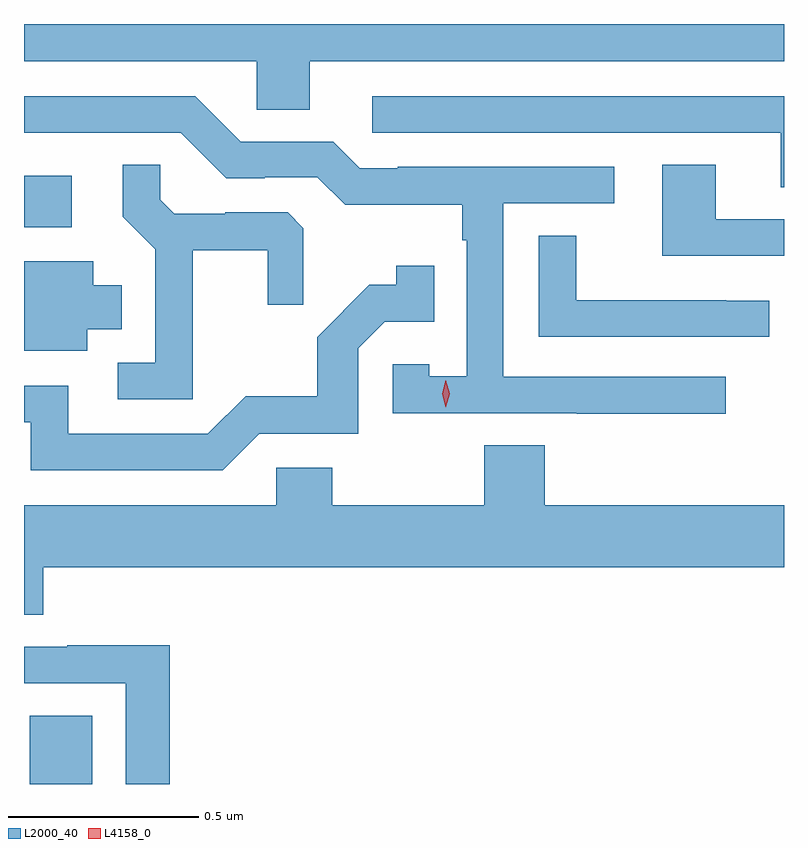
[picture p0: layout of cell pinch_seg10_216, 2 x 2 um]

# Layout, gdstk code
import gdstk
lib = gdstk.Library(unit=1e-6, precision=1e-09)
def R(c, l, rs):  # rectangles x0, y0, x1, y1
    for r in rs: c.add(gdstk.rectangle(r[:2], r[2:], *l))
def P(c, l, *ps):  # polygons
    for p in ps: c.add(gdstk.Polygon(p, *l))
L2000_40 = (2000, 40)
L4158_0 = (4158, 0)

pinch_seg10_216 = lib.new_cell('pinch_seg10_216')
R(pinch_seg10_216, L2000_40, [(770.084,1269.11,770.248,1269.29), (770.069,1270.575,770.194,1270.711)])
P(pinch_seg10_216, L2000_40, [(770.821,1271.012),(772.069,1271.012),(772.069,1271.11),(770.069,1271.11),(770.069,1271.012),(770.682,1271.012),(770.682,1270.885),(770.821,1270.885)],
  [(771.916,1270.182),(771.33,1270.182),(771.33,1270.638),(771.622,1270.638),(771.622,1270.734),(771.052,1270.734),(771.052,1270.731),(770.952,1270.731),(770.883,1270.8),(770.64,1270.8),(770.52,1270.92),(770.069,1270.92),(770.069,1270.824),(770.481,1270.824),(770.601,1270.704),(770.702,1270.704),(770.702,1270.707),(770.841,1270.707),(770.914,1270.634),(771.222,1270.634),(771.222,1270.541),(771.234,1270.541),(771.234,1270.183),(771.135,1270.183),(771.135,1270.215),(771.039,1270.215),(771.039,1270.086),(771.523,1270.086),(771.523,1270.084),(771.916,1270.084)],
  [(772.069,1270.92),(770.985,1270.92),(770.985,1270.824),(772.061,1270.824),(772.061,1270.681),(772.069,1270.681)],
  [(770.513,1270.514),(770.71,1270.514),(770.71,1270.371),(770.804,1270.371),(770.804,1270.573),(770.763,1270.614),(770.598,1270.614),(770.598,1270.611),(770.464,1270.611),(770.427,1270.648),(770.427,1270.739),(770.329,1270.739),(770.329,1270.603),(770.415,1270.517),(770.415,1270.218),(770.316,1270.218),(770.316,1270.122),(770.513,1270.122)],
  [(772.069,1270.596),(771.889,1270.596),(771.889,1270.739),(771.749,1270.739),(771.749,1270.5),(772.069,1270.5)],
  [(772.03,1270.382),(771.917,1270.382),(771.917,1270.383),(771.522,1270.383),(771.522,1270.553),(771.423,1270.553),(771.423,1270.287),(772.03,1270.287)],
  [(770.236,1270.307),(770.326,1270.307),(770.326,1270.423),(770.251,1270.423),(770.251,1270.486),(770.069,1270.486),(770.069,1270.25),(770.236,1270.25)],
  [(770.688,1270.032),(770.949,1270.032),(770.949,1270.257),(771.018,1270.326),(771.149,1270.326),(771.149,1270.474),(771.048,1270.474),(771.048,1270.424),(770.978,1270.424),(770.841,1270.286),(770.841,1270.131),(770.652,1270.131),(770.553,1270.032),(770.185,1270.032),(770.185,1270.158),(770.069,1270.158),(770.069,1270.062),(770.087,1270.062),(770.087,1269.936),(770.592,1269.936)],
  [(770.12,1269.68),(772.069,1269.68),(772.069,1269.844),(771.44,1269.844),(771.44,1270.001),(771.28,1270.001),(771.28,1269.844),(770.88,1269.844),(770.88,1269.942),(770.733,1269.942),(770.733,1269.844),(770.069,1269.844),(770.069,1269.556),(770.12,1269.556)],
  [(770.453,1269.475),(770.183,1269.475),(770.183,1269.471),(770.069,1269.471),(770.069,1269.375),(770.337,1269.375),(770.337,1269.11),(770.453,1269.11)])
P(pinch_seg10_216, L4158_0, [(771.179,1270.101),(771.179,1270.101),(771.169,1270.137),(771.179,1270.173),(771.179,1270.173),(771.179,1270.173),(771.189,1270.137),(771.179,1270.101)])

lib.write_gds('pinch_seg10_216.gds')
